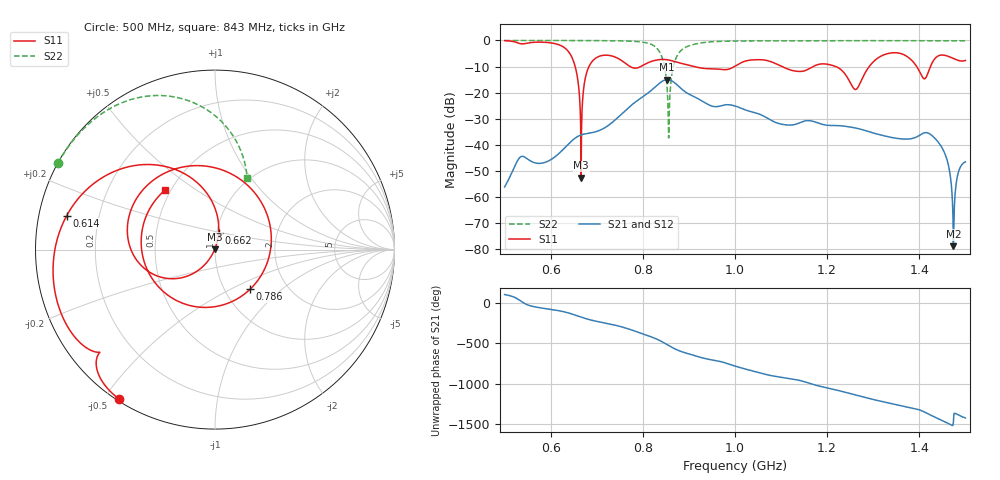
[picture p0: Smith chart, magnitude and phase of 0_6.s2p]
! TOUCHSTONE file generated by CST MICROWAVE STUDIO
! Date and time: Sat Oct 24 10:42:05 2020
! Project name: Scenario_1_Planar_Body_Tissue_Center.cst
! Parameters = {hfat=3; hmuscle=50; hskin=1.5; hgap=25; Wtissue=700; Ltissue=700; L_HA=400; MT=2.54; Rad_Dielectric=30; Rad_Lower=7.3; Rad_Upper=30; a_HA=580; a_WG=246; b_HA=500; b_WG=121; c_HA=0; c_WG=187; d_feed=85; dx1=259.6; h_feed=15; h_lower=18; h_upper=40}
! Header version: 2018
! Port assignment regex: !\s*Touchstone port\s*([0-9]+)\s*=\s*(CST MWS port|CST DS port)\s*([0-9]+|Zmin|Zmax)\s*\(\"(.*)\"\)(\s*mode\s*([0-9]+))?.*
! Touchstone port assignment:
! Touchstone port 1 = CST MWS port 1 ("")
! Touchstone port 2 = CST MWS port 2 ("")
# GHz S DB R 50
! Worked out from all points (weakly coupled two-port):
!   1003 points, 500 MHz to 1.5 GHz, reference 50 ohm
!   highest |S21| = -15.01 dB at 853 MHz (marker M1); lowest = -78.9 dB at 1.474 GHz (marker M2)
!   lowest |S11| = -52.6 dB at 666 MHz (marker M3), VSWR 1.00, Z = 49.9 + j0.193 ohm
!   |S11| at or under -10 dB: 911.1 MHz to 999 MHz (87.91 MHz wide, 9.21 % of centre); 1.102 GHz to 1.169 GHz (67.55 MHz wide, 5.95 % of centre); 1.218 GHz to 1.291 GHz (72.89 MHz wide, 5.81 % of centre) (the widest 3 of 6)
!   |S22| runs from -37.4 to 0.0 dB; largest |S21 - S12| = 3.4e-06
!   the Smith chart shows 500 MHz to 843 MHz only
!   S11 on the Smith chart (normalised r, x): 500 MHz: 0.01, -0.55; 614 MHz: 0.08, +0.11; 662 MHz: 1.02, +0.20; 786 MHz: 1.31, -0.63; 843 MHz: 0.47, +0.38
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0.5  -0.09 -122.6  -56.16 105.7  -56.16 105.7  -0.01 151.1
0.614  -1.44 167.1  -43.95 -90.7  -43.95 -90.7  -0.02 143.0
0.649  -7.73 107.3  -38.02 -141.0  -38.02 -141.0  -0.03 140.1
0.662  -20.27 77.9  -36.53 -166.8  -36.53 -166.8  -0.04 138.8
0.666  -52.61 124.1  -36.25 -174.7  -36.25 -174.7  -0.04 138.5
0.667  -33.23 -120.0  -36.19 -176.6  -36.19 -176.6  -0.04 138.4
0.696  -7.01 -173.8  -35.09 138.0  -35.09 138.0  -0.06 135.3
0.742  -6.54 98.0  -30.16 83.1  -30.16 83.1  -0.14 128.9
0.786  -10.61 -48.6  -23.32 6.0  -23.32 6.0  -0.41 118.1
0.834  -7.39 152.6  -16.73 -97.0  -16.73 -97.0  -3.77 81.5
0.843  -7.28 130.0  -15.56 -123.4  -15.56 -123.4  -7.20 65.8
0.853  -7.41 105.6  -15.01 -156.2  -15.01 -156.2  -19.09 40.8
0.886  -8.89 33.5  -18.89 113.7  -18.89 113.7  -3.38 177.4
0.943  -10.85 -92.2  -24.68 22.5  -24.68 22.5  -0.60 151.1
1  -9.90 106.0  -25.13 -60.9  -25.13 -60.9  -0.23 140.1
1.08  -8.28 -79.0  -30.76 179.1  -30.76 179.1  -0.15 131.5
1.167  -10.22 77.8  -30.91 75.6  -30.91 75.6  -0.09 124.2
1.262  -18.81 -166.8  -33.60 -60.8  -33.60 -60.8  -0.09 116.9
1.334  -4.95 13.3  -36.99 -159.6  -36.99 -159.6  -0.08 111.5
1.434  -6.93 -5.1  -37.56 25.9  -37.56 25.9  -0.11 103.5
1.474  -6.93 -42.5  -78.89 -36.0  -78.85 -36.6  -0.13 100.2
1.5  -7.68 -36.0  -46.57 15.5  -46.57 15.5  -0.13 98.0
